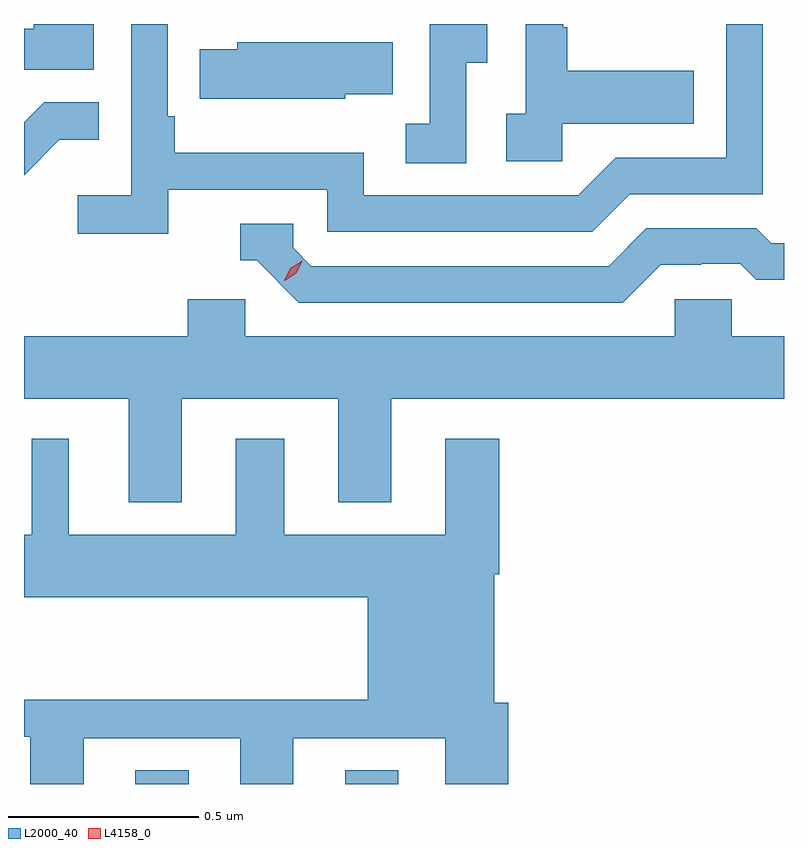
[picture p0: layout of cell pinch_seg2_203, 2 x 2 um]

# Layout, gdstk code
import gdstk
lib = gdstk.Library(unit=1e-6, precision=1e-09)
def R(c, l, rs):  # rectangles x0, y0, x1, y1
    for r in rs: c.add(gdstk.rectangle(r[:2], r[2:], *l))
def P(c, l, *ps):  # polygons
    for p in ps: c.add(gdstk.Polygon(p, *l))
L2000_40 = (2000, 40)
L4158_0 = (4158, 0)

pinch_seg2_203 = lib.new_cell('pinch_seg2_203')
R(pinch_seg2_203, L2000_40, [(998.999,659.942,999.139,659.978), (999.551,659.942,999.691,659.978)])
P(pinch_seg2_203, L2000_40, [(998.89,661.942),(998.732,661.942),(998.732,661.93),(998.706,661.93),(998.706,661.821),(998.89,661.821)],
  [(1000.122,661.679),(1000.469,661.679),(1000.469,661.819),(1000.135,661.819),(1000.135,661.934),(1000.125,661.934),(1000.125,661.942),(1000.026,661.942),(1000.026,661.706),(999.975,661.706),(999.975,661.581),(1000.122,661.581)],
  [(999.87,661.84),(999.925,661.84),(999.925,661.942),(999.774,661.942),(999.774,661.679),(999.711,661.679),(999.711,661.576),(999.87,661.576)],
  [(999.086,661.506),(999.504,661.506),(999.504,661.395),(1000.201,661.395),(1000.3,661.494),(1000.65,661.494),(1000.65,661.942),(1000.554,661.942),(1000.554,661.59),(1000.263,661.59),(1000.164,661.491),(999.6,661.491),(999.6,661.603),(999.103,661.603),(999.103,661.699),(999.084,661.699),(999.084,661.942),(998.988,661.942),(998.988,661.492),(998.847,661.492),(998.847,661.39),(999.086,661.39)],
  [(999.552,661.757),(999.677,661.757),(999.677,661.894),(999.267,661.894),(999.267,661.875),(999.169,661.875),(999.169,661.745),(999.552,661.745)],
  [(998.799,661.637),(998.903,661.637),(998.903,661.736),(998.759,661.736),(998.706,661.683),(998.706,661.544)],
  [(1000.381,661.308),(1000.488,661.308),(1000.488,661.311),(1000.591,661.311),(1000.633,661.269),(1000.706,661.269),(1000.706,661.365),(1000.672,661.365),(1000.633,661.404),(1000.344,661.404),(1000.245,661.305),(999.462,661.305),(999.414,661.353),(999.414,661.416),(999.275,661.416),(999.275,661.32),(999.318,661.32),(999.429,661.209),(1000.282,661.209)],
  [(999.121,660.956),(999.533,660.956),(999.533,660.683),(999.673,660.683),(999.673,660.956),(1000.706,660.956),(1000.706,661.12),(1000.569,661.12),(1000.569,661.218),(1000.419,661.218),(1000.419,661.12),(999.288,661.12),(999.288,661.218),(999.137,661.218),(999.137,661.12),(998.706,661.12),(998.706,660.956),(998.981,660.956),(998.981,660.683),(999.121,660.683)],
  [(998.863,660.063),(999.275,660.063),(999.275,659.942),(999.415,659.942),(999.415,660.063),(999.815,660.063),(999.815,659.942),(999.98,659.942),(999.98,660.156),(999.943,660.156),(999.943,660.494),(999.956,660.494),(999.956,660.85),(999.815,660.85),(999.815,660.598),(999.391,660.598),(999.391,660.85),(999.263,660.85),(999.263,660.598),(998.824,660.598),(998.824,660.85),(998.726,660.85),(998.726,660.598),(998.706,660.598),(998.706,660.434),(999.611,660.434),(999.611,660.164),(998.706,660.164),(998.706,660.066),(998.723,660.066),(998.723,659.942),(998.863,659.942)])
P(pinch_seg2_203, L4158_0, [(999.391,661.266),(999.391,661.266),(999.407,661.299),(999.438,661.319),(999.438,661.319),(999.438,661.319),(999.422,661.286),(999.392,661.266)])

lib.write_gds('pinch_seg2_203.gds')
